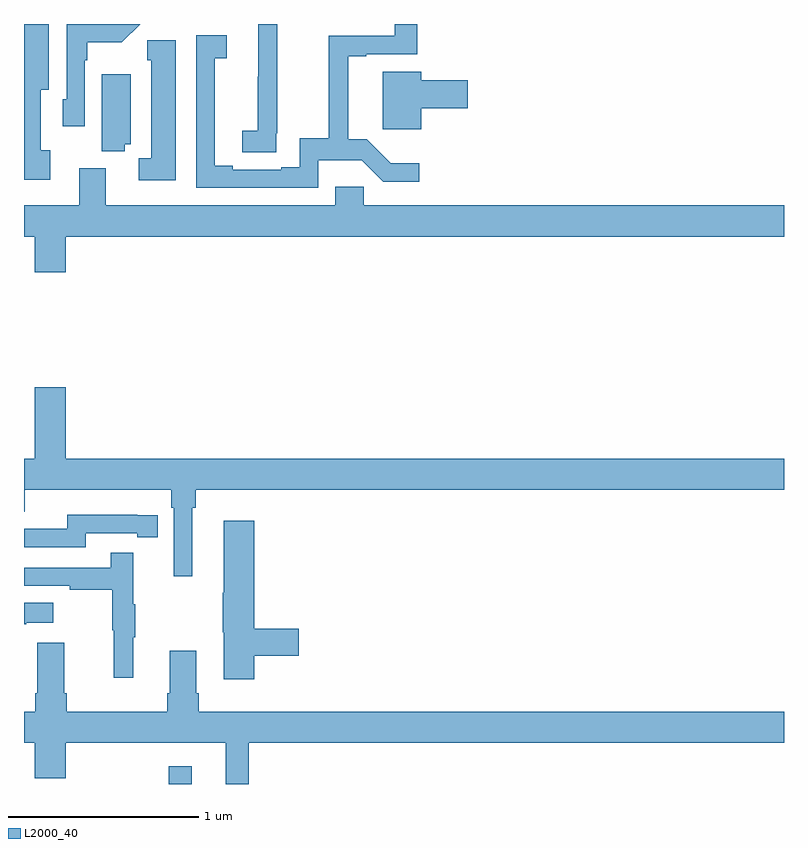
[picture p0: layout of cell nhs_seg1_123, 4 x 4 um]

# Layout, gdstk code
import gdstk
lib = gdstk.Library(unit=1e-6, precision=1e-09)
def R(c, l, rs):  # rectangles x0, y0, x1, y1
    for r in rs: c.add(gdstk.rectangle(r[:2], r[2:], *l))
def P(c, l, *ps):  # polygons
    for p in ps: c.add(gdstk.Polygon(p, *l))
L2000_40 = (2000, 40)

nhs_seg1_123 = lib.new_cell('nhs_seg1_123')
R(nhs_seg1_123, L2000_40, [(117.762,534.199,117.883,534.292)])
P(nhs_seg1_123, L2000_40, [(118.548,537.482),(118.777,537.482),(118.89,537.369),(119.08,537.369),(119.08,537.466),(118.931,537.466),(118.805,537.592),(118.706,537.592),(118.706,538.029),(118.801,538.029),(118.801,538.041),(119.069,538.041),(119.069,538.199),(118.952,538.199),(118.952,538.137),(118.603,538.137),(118.603,537.599),(118.452,537.599),(118.452,537.446),(118.355,537.446),(118.355,537.432),(118.099,537.432),(118.099,537.452),(118.003,537.452),(118.003,537.715),(118.005,537.715),(118.005,538.019),(118.066,538.019),(118.066,538.139),(117.906,538.139),(117.906,537.336),(118.548,537.336)],
  [(117.139,537.534),(117.088,537.534),(117.088,537.854),(117.13,537.854),(117.13,538.199),(117,538.199),(117,537.378),(117.139,537.378)],
  [(117.321,538.007),(117.334,538.007),(117.334,538.103),(117.515,538.103),(117.611,538.199),(117.225,538.199),(117.225,537.804),(117.204,537.804),(117.204,537.66),(117.321,537.66)],
  [(118.328,537.625),(118.334,537.625),(118.334,538.199),(118.232,538.199),(118.232,537.921),(118.231,537.921),(118.231,537.638),(118.149,537.638),(118.149,537.523),(118.328,537.523)],
  [(117.799,538.114),(117.649,538.114),(117.649,538.008),(117.671,538.008),(117.671,537.492),(117.603,537.492),(117.603,537.377),(117.799,537.377)],
  [(119.092,537.755),(119.335,537.755),(119.335,537.902),(119.092,537.902),(119.092,537.949),(118.889,537.949),(118.889,537.644),(119.092,537.644)],
  [(117.53,537.566),(117.562,537.566),(117.562,537.934),(117.41,537.934),(117.41,537.529),(117.53,537.529)],
  [(117.22,537.08),(121,537.08),(121,537.244),(118.789,537.244),(118.789,537.342),(118.637,537.342),(118.637,537.244),(117.43,537.244),(117.43,537.439),(117.29,537.439),(117.29,537.244),(117,537.244),(117,537.08),(117.056,537.08),(117.056,536.892),(117.22,536.892)],
  [(117.886,535.652),(117.905,535.652),(117.905,535.748),(121,535.748),(121,535.912),(117.22,535.912),(117.22,536.287),(117.056,536.287),(117.056,535.912),(117,535.912),(117,535.631),(117.004,535.631),(117.004,535.748),(117.776,535.748),(117.776,535.652),(117.789,535.652),(117.789,535.293),(117.886,535.293)],
  [(117.324,535.518),(117.596,535.518),(117.596,535.498),(117.704,535.498),(117.704,535.614),(117.596,535.614),(117.596,535.615),(117.228,535.615),(117.228,535.542),(117,535.542),(117,535.446),(117.324,535.446)],
  [(118.211,534.874),(118.447,534.874),(118.447,535.016),(118.211,535.016),(118.211,535.585),(118.052,535.585),(118.052,535.205),(118.045,535.205),(118.045,534.999),(118.052,534.999),(118.052,534.75),(118.211,534.75)],
  [(117.575,534.971),(117.586,534.971),(117.586,535.145),(117.575,535.145),(117.575,535.417),(117.457,535.417),(117.457,535.338),(117,535.338),(117,535.242),(117.241,535.242),(117.241,535.222),(117.465,535.222),(117.465,535.008),(117.472,535.008),(117.472,534.759),(117.575,534.759)],
  [(117.011,535.049),(117.154,535.049),(117.154,535.153),(117,535.153),(117,535.039),(117.011,535.039)],
  [(118.183,534.416),(121,534.416),(121,534.58),(117.92,534.58),(117.92,534.676),(117.907,534.676),(117.907,534.901),(117.767,534.901),(117.767,534.676),(117.755,534.676),(117.755,534.58),(117.224,534.58),(117.224,534.676),(117.211,534.676),(117.211,534.943),(117.071,534.943),(117.071,534.676),(117.059,534.676),(117.059,534.58),(117,534.58),(117,534.416),(117.056,534.416),(117.056,534.228),(117.22,534.228),(117.22,534.416),(118.061,534.416),(118.061,534.199),(118.183,534.199)])

lib.write_gds('nhs_seg1_123.gds')
